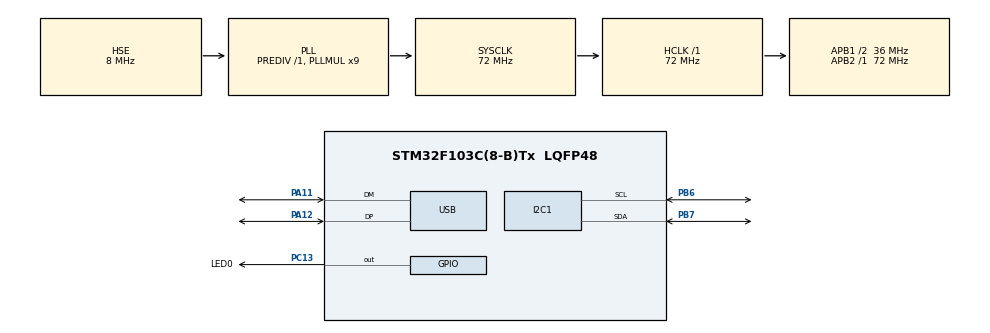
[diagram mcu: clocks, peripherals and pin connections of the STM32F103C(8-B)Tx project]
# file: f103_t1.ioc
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ADC1.Channel-0\#ChannelRegularConversion=ADC_CHANNEL_TEMPSENSOR
ADC1.Channel-1\#ChannelRegularConversion=ADC_CHANNEL_VREFINT
ADC1.ContinuousConvMode=ENABLE
ADC1.NbrOfConversion=2
ADC1.NbrOfConversionFlag=1
ADC1.Rank-0\#ChannelRegularConversion=1
ADC1.Rank-1\#ChannelRegularConversion=2
ADC1.SamplingTime-0\#ChannelRegularConversion=ADC_SAMPLETIME_239CYCLES_5
ADC1.SamplingTime-1\#ChannelRegularConversion=ADC_SAMPLETIME_239CYCLES_5
ADC1.master=1
Dma.ADC1.0.Direction=DMA_PERIPH_TO_MEMORY
Dma.ADC1.0.Instance=DMA1_Channel1
Dma.ADC1.0.MemDataAlignment=DMA_MDATAALIGN_HALFWORD
Dma.ADC1.0.MemInc=DMA_MINC_ENABLE
Dma.ADC1.0.Mode=DMA_CIRCULAR
Dma.ADC1.0.PeriphDataAlignment=DMA_PDATAALIGN_HALFWORD
Dma.ADC1.0.PeriphInc=DMA_PINC_DISABLE
Dma.ADC1.0.Priority=DMA_PRIORITY_LOW
Dma.I2C1_TX.1.Direction=DMA_MEMORY_TO_PERIPH
Dma.I2C1_TX.1.Instance=DMA1_Channel6
Dma.I2C1_TX.1.MemDataAlignment=DMA_MDATAALIGN_BYTE
Dma.I2C1_TX.1.MemInc=DMA_MINC_ENABLE
Dma.I2C1_TX.1.Mode=DMA_NORMAL
Dma.I2C1_TX.1.PeriphDataAlignment=DMA_PDATAALIGN_BYTE
Dma.I2C1_TX.1.PeriphInc=DMA_PINC_DISABLE
Dma.I2C1_TX.1.Priority=DMA_PRIORITY_LOW
Dma.Request0=ADC1
Dma.Request1=I2C1_TX
I2C1.DualAddressMode=I2C_DUALADDRESS_DISABLE
I2C1.I2C_Mode=I2C_Fast
I2C1.OwnAddress=0x30
Mcu.Family=STM32F1
Mcu.Name=STM32F103C(8-B)Tx
Mcu.Package=LQFP48
NVIC.DMA1_Channel1_IRQn=true\:0\:0\:false\:false\:true\:true
NVIC.DMA1_Channel6_IRQn=true\:0\:0\:false\:false\:true\:false
NVIC.PriorityGroup=NVIC_PRIORITYGROUP_4
NVIC.USB_LP_CAN1_RX0_IRQn=true\:0\:0\:false\:false\:true\:true
PA11.Mode=Device
PA11.Signal=USB_DM
PA12.Mode=Device
PA12.Signal=USB_DP
PA13.Mode=Trace_Asynchronous_SW
PA13.Signal=SYS_JTMS-SWDIO
PA14.Mode=Trace_Asynchronous_SW
PA14.Signal=SYS_JTCK-SWCLK
PB3.Mode=Trace_Asynchronous_SW
PB3.Signal=SYS_JTDO-TRACESWO
PB6.Mode=I2C
PB6.Signal=I2C1_SCL
PB7.Mode=I2C
PB7.Signal=I2C1_SDA
PC13-TAMPER-RTC.GPIO_Label=LED0
PC13-TAMPER-RTC.GPIO_ModeDefaultOutputPP=GPIO_MODE_OUTPUT_OD
PC13-TAMPER-RTC.Signal=GPIO_Output
PC14-OSC32_IN.Mode=LSE-External-Oscillator
PC14-OSC32_IN.Signal=RCC_OSC32_IN
PC15-OSC32_OUT.Mode=LSE-External-Oscillator
PC15-OSC32_OUT.Signal=RCC_OSC32_OUT
PD0-OSC_IN.Mode=HSE-External-Oscillator
PD0-OSC_IN.Signal=RCC_OSC_IN
PD1-OSC_OUT.Mode=HSE-External-Oscillator
PD1-OSC_OUT.Signal=RCC_OSC_OUT
ProjectManager.HeapSize=0x200
ProjectManager.StackSize=0x400
ProjectManager.TargetToolchain=MDK-ARM V5
RCC.ADCPresc=RCC_ADCPCLK2_DIV6
RCC.AHBFreq_Value=72000000
RCC.APB1CLKDivider=RCC_HCLK_DIV2
RCC.APB1Freq_Value=36000000
RCC.APB1TimFreq_Value=72000000
RCC.APB2Freq_Value=72000000
RCC.APB2TimFreq_Value=72000000
RCC.HCLKFreq_Value=72000000
RCC.PLLMUL=RCC_PLL_MUL9
RCC.SYSCLKFreq_VALUE=72000000
RCC.SYSCLKSource=RCC_SYSCLKSOURCE_PLLCLK
RCC.USBFreq_Value=48000000
RCC.USBPrescaler=RCC_USBCLKSOURCE_PLL_DIV1_5
USB_DEVICE.CLASS_NAME_FS=CDC
USB_DEVICE.VirtualMode=Cdc
USB_DEVICE.VirtualModeFS=Cdc_FS
VP_ADC1_TempSens_Input.Mode=IN-TempSens
VP_ADC1_Vref_Input.Mode=IN-Vrefint
VP_USB_DEVICE_VS_USB_DEVICE_CDC_FS.Mode=CDC_FS
board=f103_t1

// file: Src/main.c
/**
  ******************************************************************************
  * File Name          : main.c
  * Description        : Main program body
  ******************************************************************************
  * This notice applies to any and all portions of this file
  * that are not between comment pairs USER CODE BEGIN and
  * USER CODE END. Other portions of this file, whether
  * inserted by the user or by software development tools
  * are owned by their respective copyright owners.
  *
  * Copyright (c) 2018 STMicroelectronics International N.V.
  * All rights reserved.
  *
  * Redistribution and use in source and binary forms, with or without
  * modification, are permitted, provided that the following conditions are met:
  *
  * 1. Redistribution of source code must retain the above copyright notice,
  *    this list of conditions and the following disclaimer.
  * 2. Redistributions in binary form must reproduce the above copyright notice,
  *    this list of conditions and the following disclaimer in the documentation
  *    and/or other materials provided with the distribution.
  * 3. Neither the name of STMicroelectronics nor the names of other
  *    contributors to this software may be used to endorse or promote products
  *    derived from this software without specific written permission.
  * 4. This software, including modifications and/or derivative works of this
  *    software, must execute solely and exclusively on microcontroller or
  *    microprocessor devices manufactured by or for STMicroelectronics.
  * 5. Redistribution and use of this software other than as permitted under
  *    this license is void and will automatically terminate your rights under
  *    this license.
  *
  * THIS SOFTWARE IS PROVIDED BY STMICROELECTRONICS AND CONTRIBUTORS "AS IS"
  * AND ANY EXPRESS, IMPLIED OR STATUTORY WARRANTIES, INCLUDING, BUT NOT
  * LIMITED TO, THE IMPLIED WARRANTIES OF MERCHANTABILITY, FITNESS FOR A
  * PARTICULAR PURPOSE AND NON-INFRINGEMENT OF THIRD PARTY INTELLECTUAL PROPERTY
  * RIGHTS ARE DISCLAIMED TO THE FULLEST EXTENT PERMITTED BY LAW. IN NO EVENT
  * SHALL STMICROELECTRONICS OR CONTRIBUTORS BE LIABLE FOR ANY DIRECT, INDIRECT,
  * INCIDENTAL, SPECIAL, EXEMPLARY, OR CONSEQUENTIAL DAMAGES (INCLUDING, BUT NOT
  * LIMITED TO, PROCUREMENT OF SUBSTITUTE GOODS OR SERVICES; LOSS OF USE, DATA,
  * OR PROFITS; OR BUSINESS INTERRUPTION) HOWEVER CAUSED AND ON ANY THEORY OF
  * LIABILITY, WHETHER IN CONTRACT, STRICT LIABILITY, OR TORT (INCLUDING
  * NEGLIGENCE OR OTHERWISE) ARISING IN ANY WAY OUT OF THE USE OF THIS SOFTWARE,
  * EVEN IF ADVISED OF THE POSSIBILITY OF SUCH DAMAGE.
  *
  ******************************************************************************
  */

#include "main.h"
#include "stm32f1xx_hal.h"
#include "adc.h"
#include "dma.h"
#include "i2c.h"
#include "usb_device.h"
#include "gpio.h"

/* USER CODE BEGIN Includes */
#include "OLED_I2C.h"
/* USER CODE END Includes */

/* USER CODE BEGIN PV */
/* Private variables ---------------------------------------------------------*/
uint16_t g_AdcBuf[2];
/* USER CODE END PV */

void SystemClock_Config(void);

/* USER CODE BEGIN PFP */
/* Private function prototypes -----------------------------------------------*/

/* USER CODE END PFP */

/* USER CODE BEGIN 0 */
	extern const unsigned char BMP1[];
#define	TEST_NUM	4
/* USER CODE END 0 */

int main(void)
{

  /* USER CODE BEGIN 1 */
	uint32_t tmpTicks;
 		uint32_t i;
int32_t tmpRand;
	/* USER CODE END 1 */

  /* MCU Configuration----------------------------------------------------------*/

  /* Reset of all peripherals, Initializes the Flash interface and the Systick. */
  HAL_Init();

  /* Configure the system clock */
  SystemClock_Config();

  /* Initialize all configured peripherals */
  MX_GPIO_Init();
  MX_DMA_Init();
  MX_ADC1_Init();
  MX_USB_DEVICE_Init();
  MX_I2C1_Init();

  /* USER CODE BEGIN 2 */
	OLED_Init();

  /* USER CODE END 2 */

  /* Infinite loop */
  /* USER CODE BEGIN WHILE */
	HAL_ADC_Start_DMA(&hadc1, (uint32_t*)g_AdcBuf, 2);
	printf("CDC Test %u \n", SystemCoreClock);
  while (1)
  {
		HAL_GPIO_TogglePin(LED0_GPIO_Port, LED0_Pin);
//		printf("%u %u %u\n", g_AdcBuf[0], g_AdcBuf[1], HAL_GetTick());
		tmpTicks = HAL_GetTick();

		for(i=0; i<TEST_NUM/2; ++i)
		{
			tmpRand = rand();
			OLED_Fill((uint8_t)tmpRand);
		}
		for( ; i<TEST_NUM; ++i)
		{
			tmpRand = rand();
			OLED_Fill((uint8_t)tmpRand);
		}
		tmpTicks = HAL_GetTick() - tmpTicks;
		printf("[%u] %u\n", i, tmpTicks/i);

		//Test Chinese Font
		for(i=0;i<3;i++)
		{
			OLED_ShowCN(22+i*16,0,i);
		}
		HAL_Delay(2000);
		//OLED 6x8 Font Test
		OLED_ShowStr(0,3, "OLED 6x8",1);
		//OLED 8x16 Font Test
		OLED_ShowStr(0,4, "Font8x16",2);
		HAL_Delay(2000);
		OLED_CLS();
		OLED_OFF();
		HAL_Delay(5000);
		OLED_ON();
		OLED_DrawBMP(0,0,128,8,(unsigned char *)BMP1);
		HAL_Delay(5000);
  /* USER CODE END WHILE */

  }

}

/** System Clock Configuration
*/
void SystemClock_Config(void)
{

  RCC_OscInitTypeDef RCC_OscInitStruct;
  RCC_ClkInitTypeDef RCC_ClkInitStruct;
  RCC_PeriphCLKInitTypeDef PeriphClkInit;

    /**Initializes the CPU, AHB and APB busses clocks
    */
  RCC_OscInitStruct.OscillatorType = RCC_OSCILLATORTYPE_HSE;
  RCC_OscInitStruct.HSEState = RCC_HSE_ON;
  RCC_OscInitStruct.HSEPredivValue = RCC_HSE_PREDIV_DIV1;
  RCC_OscInitStruct.HSIState = RCC_HSI_ON;
  RCC_OscInitStruct.PLL.PLLState = RCC_PLL_ON;
  RCC_OscInitStruct.PLL.PLLSource = RCC_PLLSOURCE_HSE;
  RCC_OscInitStruct.PLL.PLLMUL = RCC_PLL_MUL9;
  if (HAL_RCC_OscConfig(&RCC_OscInitStruct) != HAL_OK)
  {
    _Error_Handler(__FILE__, __LINE__);
  }

    /**Initializes the CPU, AHB and APB busses clocks
    */
  RCC_ClkInitStruct.ClockType = RCC_CLOCKTYPE_HCLK|RCC_CLOCKTYPE_SYSCLK
                              |RCC_CLOCKTYPE_PCLK1|RCC_CLOCKTYPE_PCLK2;
  RCC_ClkInitStruct.SYSCLKSource = RCC_SYSCLKSOURCE_PLLCLK;
  RCC_ClkInitStruct.AHBCLKDivider = RCC_SYSCLK_DIV1;
  RCC_ClkInitStruct.APB1CLKDivider = RCC_HCLK_DIV2;
  RCC_ClkInitStruct.APB2CLKDivider = RCC_HCLK_DIV1;

  if (HAL_RCC_ClockConfig(&RCC_ClkInitStruct, FLASH_LATENCY_2) != HAL_OK)
  {
    _Error_Handler(__FILE__, __LINE__);
  }

  PeriphClkInit.PeriphClockSelection = RCC_PERIPHCLK_ADC|RCC_PERIPHCLK_USB;
  PeriphClkInit.AdcClockSelection = RCC_ADCPCLK2_DIV6;
  PeriphClkInit.UsbClockSelection = RCC_USBCLKSOURCE_PLL_DIV1_5;
  if (HAL_RCCEx_PeriphCLKConfig(&PeriphClkInit) != HAL_OK)
  {
    _Error_Handler(__FILE__, __LINE__);
  }

    /**Configure the Systick interrupt time
    */
  HAL_SYSTICK_Config(HAL_RCC_GetHCLKFreq()/1000);

    /**Configure the Systick
    */
  HAL_SYSTICK_CLKSourceConfig(SYSTICK_CLKSOURCE_HCLK);

  /* SysTick_IRQn interrupt configuration */
  HAL_NVIC_SetPriority(SysTick_IRQn, 0, 0);
}

void _Error_Handler(char * file, int line)
{
  while(1)
  {
  }
}

/************************ (C) COPYRIGHT STMicroelectronics *****END OF FILE****/
